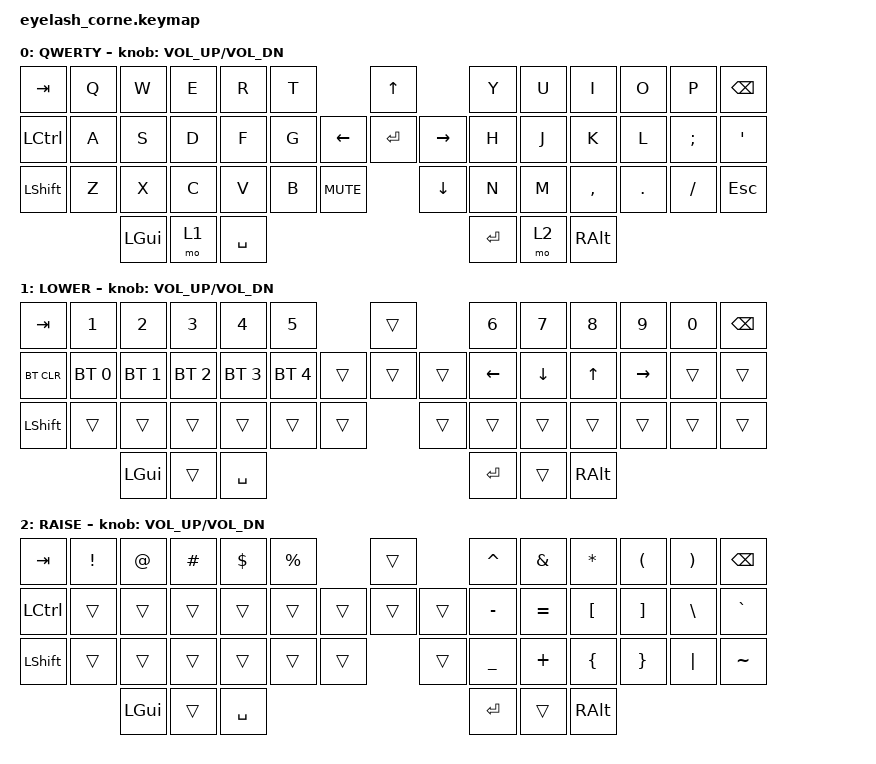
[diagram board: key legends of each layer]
/*
 * Copyright (c) 2020 The ZMK Contributors
 *
 * SPDX-License-Identifier: MIT
 */

#include <behaviors.dtsi>
#include <dt-bindings/zmk/keys.h>
#include <dt-bindings/zmk/bt.h>

/*
 * Eyelash Corne has 48 key positions, not 42:
 *   - 42 normal keys (same order as before)
 *   - 5-way pointer on the right half: UP / LEFT / CENTER / RIGHT / DOWN
 *   - knob press (left half, next to the 3rd-row keys)
 * Each row below reads: left half | extras in the middle | right half.
 * The knob turn is set per layer with sensor-bindings.
 */

/ {
        keymap {
                compatible = "zmk,keymap";

                default_layer {
                        display-name = "QWERTY";
// -----------------------------------------------------------------------------------------
// |  TAB |  Q  |  W  |  E  |  R  |  T  |   |  Y  |  U   |  I  |  O  |  P  | BSPC |
// | CTRL |  A  |  S  |  D  |  F  |  G  |   |  H  |  J   |  K  |  L  |  ;  |  '   |
// | SHFT |  Z  |  X  |  C  |  V  |  B  |   |  N  |  M   |  ,  |  .  |  /  | ESC  |
//                    | GUI | LWR | SPC |   | ENT | RSE  | ALT |
                        bindings = <
   &kp TAB   &kp Q &kp W &kp E &kp R &kp T                       &kp UP                 &kp Y &kp U  &kp I     &kp O   &kp P    &kp BSPC
   &kp LCTRL &kp A &kp S &kp D &kp F &kp G           &kp LEFT  &kp RET  &kp RIGHT       &kp H &kp J  &kp K     &kp L   &kp SEMI &kp SQT
   &kp LSHFT &kp Z &kp X &kp C &kp V &kp B  &kp C_MUTE         &kp DOWN                 &kp N &kp M  &kp COMMA &kp DOT &kp FSLH &kp ESC
                  &kp LGUI &mo 1 &kp SPACE                                              &kp RET &mo 2 &kp RALT
                        >;
                        sensor-bindings = <&inc_dec_kp C_VOL_UP C_VOL_DN>;
                };
                lower_layer {
                        display-name = "LOWER";
// -----------------------------------------------------------------------------------------
// |  TAB |  1  |  2  |  3  |  4  |  5  |   |  6  |  7  |  8  |  9  |  0  | BSPC |
// | BTCLR| BT1 | BT2 | BT3 | BT4 | BT5 |   | LFT | DWN |  UP | RGT |     |      |
// | SHFT |     |     |     |     |     |   |     |     |     |     |     |      |
//                    | GUI |     | SPC |   | ENT |     | ALT |
                        bindings = <
   &kp TAB    &kp N1       &kp N2       &kp N3       &kp N4       &kp N5                     &trans                 &kp N6   &kp N7   &kp N8 &kp N9    &kp N0 &kp BSPC
   &bt BT_CLR &bt BT_SEL 0 &bt BT_SEL 1 &bt BT_SEL 2 &bt BT_SEL 3 &bt BT_SEL 4   &trans &trans &trans           &kp LEFT &kp DOWN &kp UP &kp RIGHT &trans &trans
   &kp LSHFT  &trans       &trans       &trans       &trans       &trans       &trans             &trans                 &trans   &trans   &trans &trans    &trans &trans
                                    &kp LGUI     &trans       &kp SPACE                                          &kp RET  &trans   &kp RALT
                        >;
                        sensor-bindings = <&inc_dec_kp C_VOL_UP C_VOL_DN>;
                };

                raise_layer {
                        display-name = "RAISE";
// -----------------------------------------------------------------------------------------
// |  TAB |  !  |  @  |  #  |  $  |  %  |   |  ^  |  &  |  *  |  (  |  )  | BSPC |
// | CTRL |     |     |     |     |     |   |  -  |  =  |  [  |  ]  |  \  |  `   |
// | SHFT |     |     |     |     |     |   |  _  |  +  |  {  |  }  | "|" |  ~   |
//                    | GUI |     | SPC |   | ENT |     | ALT |
                        bindings = <
   &kp  TAB  &kp EXCL &kp AT &kp HASH &kp DLLR &kp PRCNT                   &trans                  &kp CARET &kp AMPS  &kp ASTRK &kp LPAR &kp RPAR &kp BSPC
   &kp LCTRL &trans   &trans &trans   &trans   &trans      &trans &trans &trans             &kp MINUS &kp EQUAL &kp LBKT  &kp RBKT &kp BSLH &kp GRAVE
   &kp LSHFT &trans   &trans &trans   &trans   &trans      &trans            &trans         &kp UNDER &kp PLUS  &kp LBRC  &kp RBRC &kp PIPE &kp TILDE
                             &kp LGUI &trans   &kp SPACE                                      &kp RET   &trans    &kp RALT
                        >;
                        sensor-bindings = <&inc_dec_kp C_VOL_UP C_VOL_DN>;
                };
        };
};
